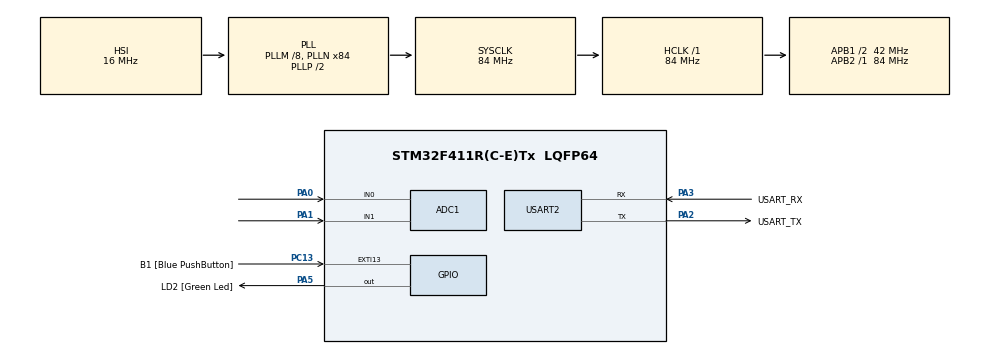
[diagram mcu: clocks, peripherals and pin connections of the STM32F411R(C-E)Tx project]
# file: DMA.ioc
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ADC1.Channel-0\#ChannelRegularConversion=ADC_CHANNEL_0
ADC1.Channel-1\#ChannelRegularConversion=ADC_CHANNEL_1
ADC1.Channel-2\#ChannelRegularConversion=ADC_CHANNEL_TEMPSENSOR
ADC1.Channel-3\#ChannelRegularConversion=ADC_CHANNEL_VREFINT
ADC1.ContinuousConvMode=ENABLE
ADC1.DMAContinuousRequests=ENABLE
ADC1.NbrOfConversion=4
ADC1.NbrOfConversionFlag=1
ADC1.Rank-0\#ChannelRegularConversion=1
ADC1.Rank-1\#ChannelRegularConversion=2
ADC1.Rank-2\#ChannelRegularConversion=3
ADC1.Rank-3\#ChannelRegularConversion=4
ADC1.SamplingTime-0\#ChannelRegularConversion=ADC_SAMPLETIME_28CYCLES
ADC1.SamplingTime-1\#ChannelRegularConversion=ADC_SAMPLETIME_3CYCLES
ADC1.SamplingTime-2\#ChannelRegularConversion=ADC_SAMPLETIME_3CYCLES
ADC1.SamplingTime-3\#ChannelRegularConversion=ADC_SAMPLETIME_3CYCLES
ADC1.ScanConvMode=ENABLE
ADC1.master=1
Dma.ADC1.0.Direction=DMA_PERIPH_TO_MEMORY
Dma.ADC1.0.FIFOMode=DMA_FIFOMODE_DISABLE
Dma.ADC1.0.Instance=DMA2_Stream0
Dma.ADC1.0.MemDataAlignment=DMA_MDATAALIGN_WORD
Dma.ADC1.0.MemInc=DMA_MINC_ENABLE
Dma.ADC1.0.Mode=DMA_CIRCULAR
Dma.ADC1.0.PeriphDataAlignment=DMA_PDATAALIGN_WORD
Dma.ADC1.0.PeriphInc=DMA_PINC_DISABLE
Dma.ADC1.0.Priority=DMA_PRIORITY_LOW
Dma.Request0=ADC1
Mcu.Family=STM32F4
Mcu.Name=STM32F411R(C-E)Tx
Mcu.Package=LQFP64
NVIC.DMA2_Stream0_IRQn=true\:0\:0\:false\:false\:true\:false\:true
NVIC.EXTI15_10_IRQn=true\:0\:0\:false\:false\:true\:true\:true
NVIC.PriorityGroup=NVIC_PRIORITYGROUP_0
PA0-WKUP.Signal=ADCx_IN0
PA1.Signal=ADCx_IN1
PA13.GPIO_Label=TMS
PA13.Mode=Serial_Wire
PA13.Signal=SYS_JTMS-SWDIO
PA14.GPIO_Label=TCK
PA14.Mode=Serial_Wire
PA14.Signal=SYS_JTCK-SWCLK
PA2.GPIO_Label=USART_TX
PA2.Mode=Asynchronous
PA2.Signal=USART2_TX
PA3.GPIO_Label=USART_RX
PA3.Mode=Asynchronous
PA3.Signal=USART2_RX
PA5.GPIO_Label=LD2 [Green Led]
PA5.PinState=GPIO_PIN_SET
PA5.Signal=GPIO_Output
PB3.GPIO_Label=SWO
PB3.Signal=SYS_JTDO-SWO
PC13-ANTI_TAMP.GPIO_Label=B1 [Blue PushButton]
PC13-ANTI_TAMP.GPIO_ModeDefaultEXTI=GPIO_MODE_IT_RISING_FALLING
PC13-ANTI_TAMP.GPIO_PuPd=GPIO_PULLUP
PC13-ANTI_TAMP.Signal=GPXTI13
PC14-OSC32_IN.Mode=LSE-External-Oscillator
PC14-OSC32_IN.Signal=RCC_OSC32_IN
PC15-OSC32_OUT.Mode=LSE-External-Oscillator
PC15-OSC32_OUT.Signal=RCC_OSC32_OUT
PH0\ -\ OSC_IN.Mode=HSE-External-Clock-Source
PH0\ -\ OSC_IN.Signal=RCC_OSC_IN
PH1\ -\ OSC_OUT.Mode=HSE-External-Clock-Source
PH1\ -\ OSC_OUT.Signal=RCC_OSC_OUT
ProjectManager.HeapSize=0x200
ProjectManager.StackSize=0x400
ProjectManager.TargetToolchain=STM32CubeIDE
RCC.48MHZClocksFreq_Value=42000000
RCC.AHBFreq_Value=84000000
RCC.APB1CLKDivider=RCC_HCLK_DIV2
RCC.APB1Freq_Value=42000000
RCC.APB1TimFreq_Value=84000000
RCC.APB2Freq_Value=84000000
RCC.APB2TimFreq_Value=84000000
RCC.CortexFreq_Value=84000000
RCC.FLatency-AdvancedSettings=FLASH_LATENCY_2
RCC.HCLKFreq_Value=84000000
RCC.HSE_VALUE=8000000
RCC.HSI_VALUE=16000000
RCC.PLLM=8
RCC.PLLN=84
RCC.SYSCLKFreq_VALUE=84000000
RCC.SYSCLKSource=RCC_SYSCLKSOURCE_PLLCLK
RCC.VCOOutputFreq_Value=168000000
SH.ADCx_IN0.0=ADC1_IN0,IN0
SH.ADCx_IN1.0=ADC1_IN1,IN1
TIM11.Period=65535
TIM11.Prescaler=8399
USART2.VirtualMode=VM_ASYNC
VP_ADC1_TempSens_Input.Mode=IN-TempSens
VP_ADC1_Vref_Input.Mode=IN-Vrefint
VP_TIM11_VS_ClockSourceINT.Mode=Enable_Timer
board=NUCLEO-F411RE

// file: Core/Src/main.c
/* USER CODE BEGIN Header */
/**
 ******************************************************************************
 * @file           : main.c
 * @brief          : Main program body
 ******************************************************************************
 * @attention
 *
 * <h2><center>&copy; Copyright (c) 2021 STMicroelectronics.
 * All rights reserved.</center></h2>
 *
 * This software component is licensed by ST under BSD 3-Clause license,
 * the "License"; You may not use this file except in compliance with the
 * License. You may obtain a copy of the License at:
 *                        opensource.org/licenses/BSD-3-Clause
 *
 ******************************************************************************
 */
/* USER CODE END Header */
#include "main.h"

ADC_HandleTypeDef hadc1;
DMA_HandleTypeDef hdma_adc1;

TIM_HandleTypeDef htim11;

UART_HandleTypeDef huart2;

/* USER CODE BEGIN PV */
uint32_t ADCData[4] = { 0 };
uint32_t timeStmap;
/* USER CODE END PV */

void SystemClock_Config(void);
static void MX_GPIO_Init(void);
static void MX_USART2_UART_Init(void);
static void MX_DMA_Init(void);
static void MX_ADC1_Init(void);
static void MX_TIM11_Init(void);

int main(void)
{

  /* MCU Configuration--------------------------------------------------------*/

  /* Reset of all peripherals, Initializes the Flash interface and the Systick. */
  HAL_Init();

  /* Configure the system clock */
  SystemClock_Config();

  /* Initialize all configured peripherals */
  MX_GPIO_Init();
  MX_USART2_UART_Init();
  MX_DMA_Init();
  MX_ADC1_Init();
  MX_TIM11_Init();
  /* USER CODE BEGIN 2 */
	//Start reading ADC w/ DMA
	HAL_ADC_Start_DMA(&hadc1, ADCData, 4);
	//start TIM11
	HAL_TIM_Base_Start(&htim11);
  /* USER CODE END 2 */

  /* Infinite loop */
  /* USER CODE BEGIN WHILE */
	while (1) {
		//simulate Main Task

		//HAL_Delay(100000000);
		/*if(__HAL_TIM_GET_COUNTER(&htim11)-timeStmap>=10000){
			HAL_GPIO_TogglePin(LD2_GPIO_Port, LD2_Pin);
			timeStmap=__HAL_TIM_GET_COUNTER(&htim11);
		}*/
    /* USER CODE END WHILE */

	}
}

void SystemClock_Config(void)
{
  RCC_OscInitTypeDef RCC_OscInitStruct = {0};
  RCC_ClkInitTypeDef RCC_ClkInitStruct = {0};

  /** Configure the main internal regulator output voltage
  */
  __HAL_RCC_PWR_CLK_ENABLE();
  __HAL_PWR_VOLTAGESCALING_CONFIG(PWR_REGULATOR_VOLTAGE_SCALE1);
  /** Initializes the RCC Oscillators according to the specified parameters
  * in the RCC_OscInitTypeDef structure.
  */
  RCC_OscInitStruct.OscillatorType = RCC_OSCILLATORTYPE_HSI;
  RCC_OscInitStruct.HSIState = RCC_HSI_ON;
  RCC_OscInitStruct.HSICalibrationValue = RCC_HSICALIBRATION_DEFAULT;
  RCC_OscInitStruct.PLL.PLLState = RCC_PLL_ON;
  RCC_OscInitStruct.PLL.PLLSource = RCC_PLLSOURCE_HSI;
  RCC_OscInitStruct.PLL.PLLM = 8;
  RCC_OscInitStruct.PLL.PLLN = 84;
  RCC_OscInitStruct.PLL.PLLP = RCC_PLLP_DIV2;
  RCC_OscInitStruct.PLL.PLLQ = 4;
  if (HAL_RCC_OscConfig(&RCC_OscInitStruct) != HAL_OK)
  {
    Error_Handler();
  }
  /** Initializes the CPU, AHB and APB buses clocks
  */
  RCC_ClkInitStruct.ClockType = RCC_CLOCKTYPE_HCLK|RCC_CLOCKTYPE_SYSCLK
                              |RCC_CLOCKTYPE_PCLK1|RCC_CLOCKTYPE_PCLK2;
  RCC_ClkInitStruct.SYSCLKSource = RCC_SYSCLKSOURCE_PLLCLK;
  RCC_ClkInitStruct.AHBCLKDivider = RCC_SYSCLK_DIV1;
  RCC_ClkInitStruct.APB1CLKDivider = RCC_HCLK_DIV2;
  RCC_ClkInitStruct.APB2CLKDivider = RCC_HCLK_DIV1;

  if (HAL_RCC_ClockConfig(&RCC_ClkInitStruct, FLASH_LATENCY_2) != HAL_OK)
  {
    Error_Handler();
  }
}

static void MX_ADC1_Init(void)
{

  ADC_ChannelConfTypeDef sConfig = {0};

  /** Configure the global features of the ADC (Clock, Resolution, Data Alignment and number of conversion)
  */
  hadc1.Instance = ADC1;
  hadc1.Init.ClockPrescaler = ADC_CLOCK_SYNC_PCLK_DIV4;
  hadc1.Init.Resolution = ADC_RESOLUTION_12B;
  hadc1.Init.ScanConvMode = ENABLE;
  hadc1.Init.ContinuousConvMode = ENABLE;
  hadc1.Init.DiscontinuousConvMode = DISABLE;
  hadc1.Init.ExternalTrigConvEdge = ADC_EXTERNALTRIGCONVEDGE_NONE;
  hadc1.Init.ExternalTrigConv = ADC_SOFTWARE_START;
  hadc1.Init.DataAlign = ADC_DATAALIGN_RIGHT;
  hadc1.Init.NbrOfConversion = 4;
  hadc1.Init.DMAContinuousRequests = ENABLE;
  hadc1.Init.EOCSelection = ADC_EOC_SINGLE_CONV;
  if (HAL_ADC_Init(&hadc1) != HAL_OK)
  {
    Error_Handler();
  }
  /** Configure for the selected ADC regular channel its corresponding rank in the sequencer and its sample time.
  */
  sConfig.Channel = ADC_CHANNEL_0;
  sConfig.Rank = 1;
  sConfig.SamplingTime = ADC_SAMPLETIME_28CYCLES;
  if (HAL_ADC_ConfigChannel(&hadc1, &sConfig) != HAL_OK)
  {
    Error_Handler();
  }
  /** Configure for the selected ADC regular channel its corresponding rank in the sequencer and its sample time.
  */
  sConfig.Channel = ADC_CHANNEL_1;
  sConfig.Rank = 2;
  sConfig.SamplingTime = ADC_SAMPLETIME_3CYCLES;
  if (HAL_ADC_ConfigChannel(&hadc1, &sConfig) != HAL_OK)
  {
    Error_Handler();
  }
  /** Configure for the selected ADC regular channel its corresponding rank in the sequencer and its sample time.
  */
  sConfig.Channel = ADC_CHANNEL_TEMPSENSOR;
  sConfig.Rank = 3;
  if (HAL_ADC_ConfigChannel(&hadc1, &sConfig) != HAL_OK)
  {
    Error_Handler();
  }
  /** Configure for the selected ADC regular channel its corresponding rank in the sequencer and its sample time.
  */
  sConfig.Channel = ADC_CHANNEL_VREFINT;
  sConfig.Rank = 4;
  if (HAL_ADC_ConfigChannel(&hadc1, &sConfig) != HAL_OK)
  {
    Error_Handler();
  }

}

static void MX_TIM11_Init(void)
{

  htim11.Instance = TIM11;
  htim11.Init.Prescaler = 8399;
  htim11.Init.CounterMode = TIM_COUNTERMODE_UP;
  htim11.Init.Period = 65535;
  htim11.Init.ClockDivision = TIM_CLOCKDIVISION_DIV1;
  htim11.Init.AutoReloadPreload = TIM_AUTORELOAD_PRELOAD_DISABLE;
  if (HAL_TIM_Base_Init(&htim11) != HAL_OK)
  {
    Error_Handler();
  }

}

static void MX_USART2_UART_Init(void)
{

  huart2.Instance = USART2;
  huart2.Init.BaudRate = 115200;
  huart2.Init.WordLength = UART_WORDLENGTH_8B;
  huart2.Init.StopBits = UART_STOPBITS_1;
  huart2.Init.Parity = UART_PARITY_NONE;
  huart2.Init.Mode = UART_MODE_TX_RX;
  huart2.Init.HwFlowCtl = UART_HWCONTROL_NONE;
  huart2.Init.OverSampling = UART_OVERSAMPLING_16;
  if (HAL_UART_Init(&huart2) != HAL_OK)
  {
    Error_Handler();
  }

}

static void MX_DMA_Init(void)
{

  /* DMA controller clock enable */
  __HAL_RCC_DMA2_CLK_ENABLE();

  /* DMA interrupt init */
  /* DMA2_Stream0_IRQn interrupt configuration */
  HAL_NVIC_SetPriority(DMA2_Stream0_IRQn, 0, 0);
  HAL_NVIC_EnableIRQ(DMA2_Stream0_IRQn);

}

static void MX_GPIO_Init(void)
{
  GPIO_InitTypeDef GPIO_InitStruct = {0};

  /* GPIO Ports Clock Enable */
  __HAL_RCC_GPIOC_CLK_ENABLE();
  __HAL_RCC_GPIOH_CLK_ENABLE();
  __HAL_RCC_GPIOA_CLK_ENABLE();
  __HAL_RCC_GPIOB_CLK_ENABLE();

  /*Configure GPIO pin Output Level */
  HAL_GPIO_WritePin(LD2_GPIO_Port, LD2_Pin, GPIO_PIN_SET);

  /*Configure GPIO pin : B1_Pin */
  GPIO_InitStruct.Pin = B1_Pin;
  GPIO_InitStruct.Mode = GPIO_MODE_IT_RISING_FALLING;
  GPIO_InitStruct.Pull = GPIO_PULLUP;
  HAL_GPIO_Init(B1_GPIO_Port, &GPIO_InitStruct);

  /*Configure GPIO pin : LD2_Pin */
  GPIO_InitStruct.Pin = LD2_Pin;
  GPIO_InitStruct.Mode = GPIO_MODE_OUTPUT_PP;
  GPIO_InitStruct.Pull = GPIO_NOPULL;
  GPIO_InitStruct.Speed = GPIO_SPEED_FREQ_LOW;
  HAL_GPIO_Init(LD2_GPIO_Port, &GPIO_InitStruct);

  /* EXTI interrupt init*/
  HAL_NVIC_SetPriority(EXTI15_10_IRQn, 0, 0);
  HAL_NVIC_EnableIRQ(EXTI15_10_IRQn);

}

/* USER CODE BEGIN 4 */
//Toggle LED With Interrupt
void HAL_GPIO_EXTI_Callback(uint16_t GPIO_Pin) {
	if (GPIO_Pin == GPIO_PIN_13) {
		if (HAL_GPIO_ReadPin(GPIOC, GPIO_PIN_13) == GPIO_PIN_RESET) {
			HAL_GPIO_WritePin(LD2_GPIO_Port, LD2_Pin, GPIO_PIN_RESET);
			timeStmap = __HAL_TIM_GET_COUNTER(&htim11);
			TIM11->ARR = (__HAL_TIM_GET_COUNTER(&htim11)-timeStmap)<=(1000 + (22695477 * ADCData[0] + ADCData[1]) % 10000)*10;
			TIM11->CNT = 0;
		}
		else if (HAL_GPIO_ReadPin(GPIOC, GPIO_PIN_13) == GPIO_PIN_SET) {
			timeStmap = HAL_GetTick() - timeStmap;
		}
	}
}

void HAL_TIM_PeriodElapsedCallback(TIM_HandleTypeDef *htim) {
	HAL_GPIO_WritePin(LD2_GPIO_Port, LD2_Pin, GPIO_PIN_SET);
	timeStmap = HAL_GetTick();
}
/* USER CODE END 4 */

void Error_Handler(void)
{
	__disable_irq();
	while (1) {
	}
}
